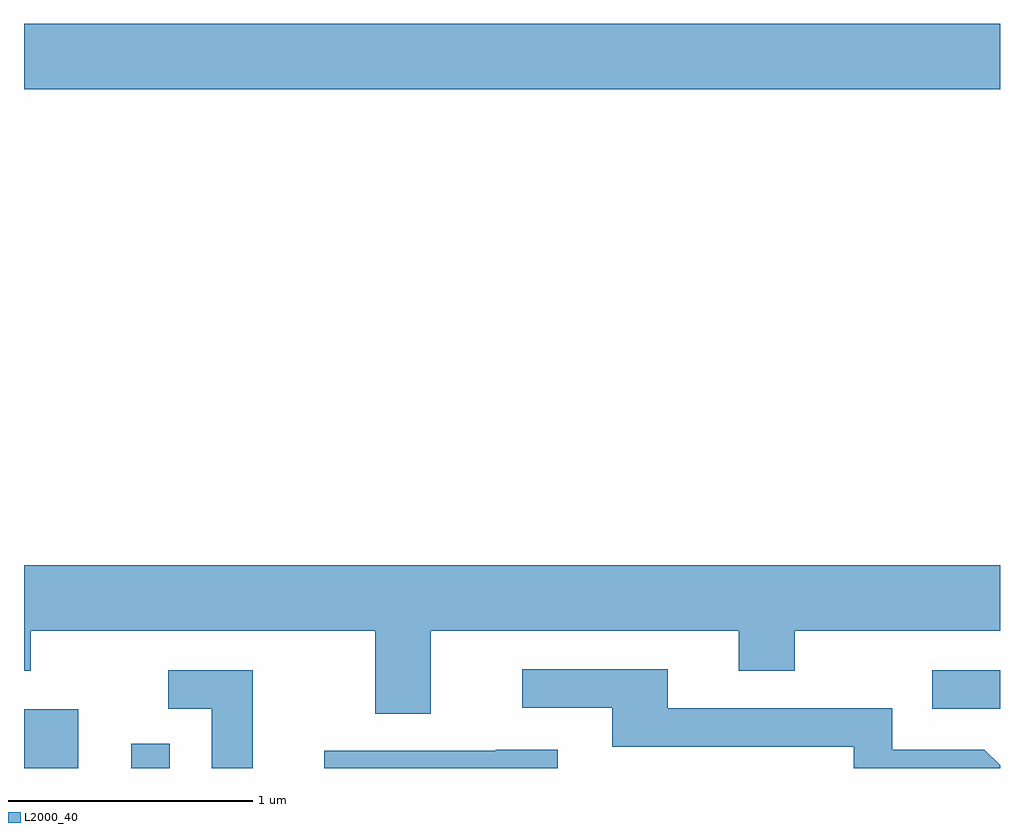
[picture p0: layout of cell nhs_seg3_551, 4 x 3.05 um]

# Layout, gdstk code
import gdstk
lib = gdstk.Library(unit=1e-6, precision=1e-09)
def R(c, l, rs):  # rectangles x0, y0, x1, y1
    for r in rs: c.add(gdstk.rectangle(r[:2], r[2:], *l))
def P(c, l, *ps):  # polygons
    for p in ps: c.add(gdstk.Polygon(p, *l))
L2000_40 = (2000, 40)

nhs_seg3_551 = lib.new_cell('nhs_seg3_551')
R(nhs_seg3_551, L2000_40, [(201.611,1129.892,201.834,1130.134), (202.051,1129.892,202.209,1129.993), (205.333,1130.136,205.611,1130.294), (201.611,1132.676,205.611,1132.944)])
P(nhs_seg3_551, L2000_40, [(203.279,1130.456),(204.541,1130.456),(204.541,1130.291),(204.769,1130.291),(204.769,1130.456),(205.611,1130.456),(205.611,1130.724),(201.611,1130.724),(201.611,1130.291),(201.639,1130.291),(201.639,1130.456),(203.051,1130.456),(203.051,1130.116),(203.279,1130.116)],
  [(205.611,1129.905),(205.547,1129.969),(205.169,1129.969),(205.169,1130.139),(204.249,1130.139),(204.249,1130.299),(203.653,1130.299),(203.653,1130.141),(204.021,1130.141),(204.021,1129.981),(205.011,1129.981),(205.011,1129.892),(205.611,1129.892)],
  [(202.549,1130.294),(202.203,1130.294),(202.203,1130.136),(202.381,1130.136),(202.381,1129.892),(202.549,1129.892)],
  [(203.799,1129.969),(203.545,1129.969),(203.545,1129.964),(202.841,1129.964),(202.841,1129.892),(203.799,1129.892)])

lib.write_gds('nhs_seg3_551.gds')
